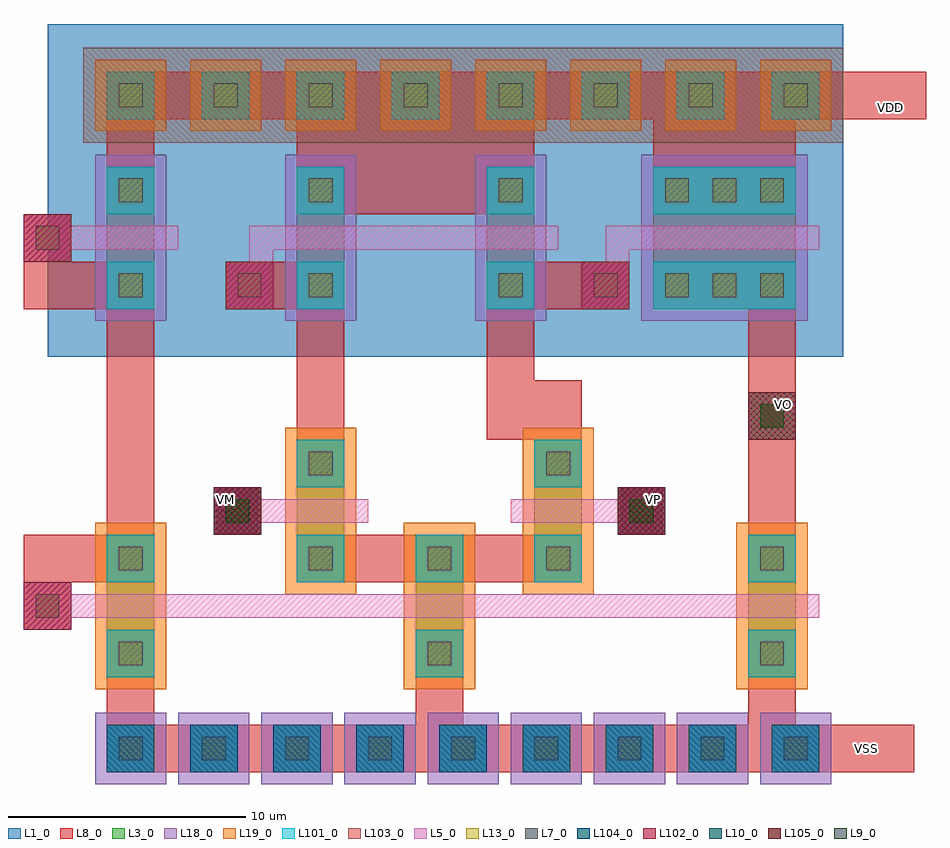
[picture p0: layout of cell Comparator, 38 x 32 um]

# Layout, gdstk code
from math import pi, radians
import gdstk
lib = gdstk.Library(unit=1e-6, precision=1e-09)
def R(c, l, rs):  # rectangles x0, y0, x1, y1
    for r in rs: c.add(gdstk.rectangle(r[:2], r[2:], *l))
def A(c, l, x, y, w, h, nx, ny, dx, dy):  # array of equal rectangles
    R(c, l, [(x+i*dx, y+j*dy, x+i*dx+w, y+j*dy+h) for i in range(nx) for j in range(ny)])
def P(c, l, *ps):  # polygons
    for p in ps: c.add(gdstk.Polygon(p, *l))
L1_0 = (1, 0)
L3_0 = (3, 0)
L5_0 = (5, 0)
L7_0 = (7, 0)
L8_0 = (8, 0)
L9_0 = (9, 0)
L10_0 = (10, 0)
L13_0 = (13, 0)
L18_0 = (18, 0)
L19_0 = (19, 0)
L101_0 = (101, 0)
L102_0 = (102, 0)
L103_0 = (103, 0)
L104_0 = (104, 0)
L105_0 = (105, 0)

dcont = lib.new_cell('dcont')
R(dcont, L3_0, [(-1,-1,1,1)])
R(dcont, L7_0, [(-0.5,-0.5,0.5,0.5)])
R(dcont, L8_0, [(-1,-1,1,1)])
R(dcont, L13_0, [(-0.5,-0.5,0.5,0.5)])
R(dcont, L101_0, [(-1,-1,1,1)])
dcont.add(gdstk.Label('dcont', (0,0), layer=13, texttype=0))

nsubcont = lib.new_cell('nsubcont')
R(nsubcont, L1_0, [(-2,-2,2,2)])
R(nsubcont, L19_0, [(-1.5,-1.5,1.5,1.5)])
R(nsubcont, L103_0, [(-2,-2,2,2)])
nsubcont.add(gdstk.Reference(dcont, (0,0)))
nsubcont.add(gdstk.Label('NScont', (0,0), layer=13, texttype=0))

pcont = lib.new_cell('pcont')
R(pcont, L5_0, [(-1,-1,1,1)])
R(pcont, L7_0, [(-0.5,-0.5,0.5,0.5)])
R(pcont, L8_0, [(-1,-1,1,1)])
R(pcont, L13_0, [(-0.5,-0.5,0.5,0.5)])
R(pcont, L102_0, [(-1,-1,1,1)])
pcont.add(gdstk.Label('pcont', (0,0), layer=13, texttype=0))

psubcont = lib.new_cell('psubcont')
R(psubcont, L18_0, [(-1.5,-1.5,1.5,1.5)])
R(psubcont, L104_0, [(-1,-1,1,1)])
psubcont.add(gdstk.Reference(dcont, (0,0)))
psubcont.add(gdstk.Label('PScon', (0,0), layer=13, texttype=0))

via = lib.new_cell('Via')
R(via, L8_0, [(-1,-1,1,1)])
R(via, L9_0, [(-0.5,-0.5,0.5,0.5)])
R(via, L10_0, [(-1,-1,1,1)])
R(via, L13_0, [(-0.5,-0.5,0.5,0.5)])
R(via, L105_0, [(-1,-1,1,1)])
via.add(gdstk.Label('via', (0,0), layer=13, texttype=0))

comparator = lib.new_cell('Comparator')
R(comparator, L1_0, [(-10.5,-6,23,8)])
A(comparator, L3_0, -8, -4, 2, 6, 3, 1, 8, 0)
R(comparator, L3_0, [(-8,-19.5,-6,-13.5), (5,-19.5,7,-13.5), (19,-19.5,21,-13.5), (0,-15.5,2,-9.5), (10,-15.5,12,-9.5), (15,-4,21,2)])
R(comparator, L8_0, [(-8,-23.5,26,-21.5), (-8,-21.5,-6,-19.5), (5,-21.5,7,-19.5), (19,-21.5,21,-19.5), (-11.5,-15.5,-8,-13.5), (2,-15.5,10,-13.5), (-8,-13.5,-6,-2.5), (19,-13.5,21,-2.5), (0,-9.5,2,-2.5), (8,-9.5,10,-2.5), (10,-9.5,12,-8), (10,-8,12,-7), (-11.5,-4,-8,-2), (-1,-4,0,-2), (10,-4,12,-2), (0,0,6,4), (6,0,10,6), (-8,2,-6,4), (15,2,21,4), (-8,4,26.5,6)])
P(comparator, L8_0, [(2.5,-13.5),(2.5,-13.5),(2.5,-13.5),(2.5,-13.5)])
A(comparator, L18_0, -8.5, -4.5, 3, 7, 3, 1, 8, 0)
R(comparator, L18_0, [(14.5,-4.5,21.5,2.5)])
R(comparator, L19_0, [(-8.5,-20,-5.5,-13), (4.5,-20,7.5,-13), (18.5,-20,21.5,-13), (-0.5,-16,2.5,-9), (9.5,-16,12.5,-9)])
comparator.add(gdstk.FlexPath([(-9.5,-16.5),(-5,-16.5),(-5,-16.5)], 1, ends="flush", simple_path=True, layer=5, datatype=0))  # L5_0
comparator.add(gdstk.FlexPath([(4,-16.5),(8,-16.5),(8,-16.5)], 1, ends="flush", simple_path=True, layer=5, datatype=0))  # L5_0
comparator.add(gdstk.FlexPath([(22,-16.5),(18,-16.5)], 1, ends="flush", simple_path=True, layer=5, datatype=0))  # L5_0
comparator.add(gdstk.FlexPath([(-5,-16.5),(4,-16.5),(18.5,-16.5)], 1, ends="flush", simple_path=True, layer=5, datatype=0))  # L5_0
comparator.add(gdstk.FlexPath([(3,-12.5),(-3,-12.5)], 1, ends="flush", simple_path=True, layer=5, datatype=0))  # L5_0
comparator.add(gdstk.FlexPath([(9,-12.5),(15,-12.5)], 1, ends="flush", simple_path=True, layer=5, datatype=0))  # L5_0
comparator.add(gdstk.FlexPath([(13.5,-2),(13.5,-0.5),(13.5,-0.5)], 1, ends="flush", simple_path=True, layer=5, datatype=0))  # L5_0
comparator.add(gdstk.FlexPath([(13.5,-1),(22,-1)], 1, ends="flush", simple_path=True, layer=5, datatype=0))  # L5_0
comparator.add(gdstk.FlexPath([(11,-1),(7,-1)], 1, ends="flush", simple_path=True, layer=5, datatype=0))  # L5_0
comparator.add(gdstk.FlexPath([(-2,-1),(7,-1)], 1, ends="flush", simple_path=True, layer=5, datatype=0))  # L5_0
comparator.add(gdstk.FlexPath([(-1.5,-0.5),(-1.5,-2),(-1.5,-2),(-1.5,-2)], 1, ends="flush", simple_path=True, layer=5, datatype=0))  # L5_0
comparator.add(gdstk.FlexPath([(-9.5,-1),(-5,-1)], 1, ends="flush", simple_path=True, layer=5, datatype=0))  # L5_0
comparator.add(gdstk.Reference(nsubcont, (-7,5)))
comparator.add(gdstk.Reference(dcont, (-7,1)))
comparator.add(gdstk.Reference(dcont, (-7,-3)))
comparator.add(gdstk.Reference(pcont, (-10.5,-1)))
comparator.add(gdstk.Reference(dcont, (1,1)))
comparator.add(gdstk.Reference(dcont, (1,-3)))
comparator.add(gdstk.Reference(nsubcont, (-3,5)))
comparator.add(gdstk.Reference(nsubcont, (1,5)))
comparator.add(gdstk.Reference(pcont, (-2,-3)))
comparator.add(gdstk.Reference(dcont, (1,-10.5)))
comparator.add(gdstk.Reference(dcont, (1,-14.5)))
comparator.add(gdstk.Reference(pcont, (-2.5,-12.5)))
comparator.add(gdstk.Reference(dcont, (-7,-14.5)))
comparator.add(gdstk.Reference(dcont, (-7,-18.5)))
comparator.add(gdstk.Reference(pcont, (-10.5,-16.5)))
comparator.add(gdstk.Reference(psubcont, (-3.5,-22.5)))
comparator.add(gdstk.Reference(psubcont, (0,-22.5)))
comparator.add(gdstk.Reference(psubcont, (10.5,-22.5)))
comparator.add(gdstk.Reference(psubcont, (7,-22.5)))
comparator.add(gdstk.Reference(psubcont, (3.5,-22.5)))
comparator.add(gdstk.Reference(psubcont, (14,-22.5)))
comparator.add(gdstk.Reference(via, (-2.5,-12.5)))
comparator.add(gdstk.Reference(dcont, (6,-18.5)))
comparator.add(gdstk.Reference(dcont, (6,-14.5)))
comparator.add(gdstk.Reference(nsubcont, (5,5)))
comparator.add(gdstk.Reference(via, (20,-8.5), rotation=pi/2))
comparator.add(gdstk.Reference(dcont, (9,1)))
comparator.add(gdstk.Reference(dcont, (9,-3)))
comparator.add(gdstk.Reference(nsubcont, (21,5)))
comparator.add(gdstk.Reference(nsubcont, (13,5)))
comparator.add(gdstk.Reference(nsubcont, (17,5)))
comparator.add(gdstk.Reference(pcont, (13,-3)))
comparator.add(gdstk.Reference(dcont, (16,-3)))
comparator.add(gdstk.Reference(dcont, (18,-3)))
comparator.add(gdstk.Reference(dcont, (16,1)))
comparator.add(gdstk.Reference(dcont, (18,1)))
comparator.add(gdstk.Reference(dcont, (20,1)))
comparator.add(gdstk.Reference(dcont, (20,-3)))
comparator.add(gdstk.Reference(dcont, (20,-14.5)))
comparator.add(gdstk.Reference(dcont, (20,-18.5)))
comparator.add(gdstk.Reference(via, (14.5,-12.5)))
comparator.add(gdstk.Reference(pcont, (14.5,-12.5)))
comparator.add(gdstk.Reference(dcont, (11,-14.5)))
comparator.add(gdstk.Reference(dcont, (11,-10.5)))
comparator.add(gdstk.Reference(nsubcont, (9,5)))
comparator.add(gdstk.Reference(psubcont, (21,-22.5)))
comparator.add(gdstk.Reference(psubcont, (17.5,-22.5)))
comparator.add(gdstk.Reference(psubcont, (-7,-22.5)))
comparator.add(gdstk.Label('VDD', (25,4.5), layer=8, texttype=0))
comparator.add(gdstk.Label('VSS', (24,-22.5), layer=8, texttype=0))
comparator.add(gdstk.Label('VP', (15,-12), layer=10, texttype=0))
comparator.add(gdstk.Label('VO', (20.5,-8), layer=10, texttype=0))
comparator.add(gdstk.Label('VM', (-3,-12), layer=10, texttype=0))

lib.write_gds('Comparator.gds')
